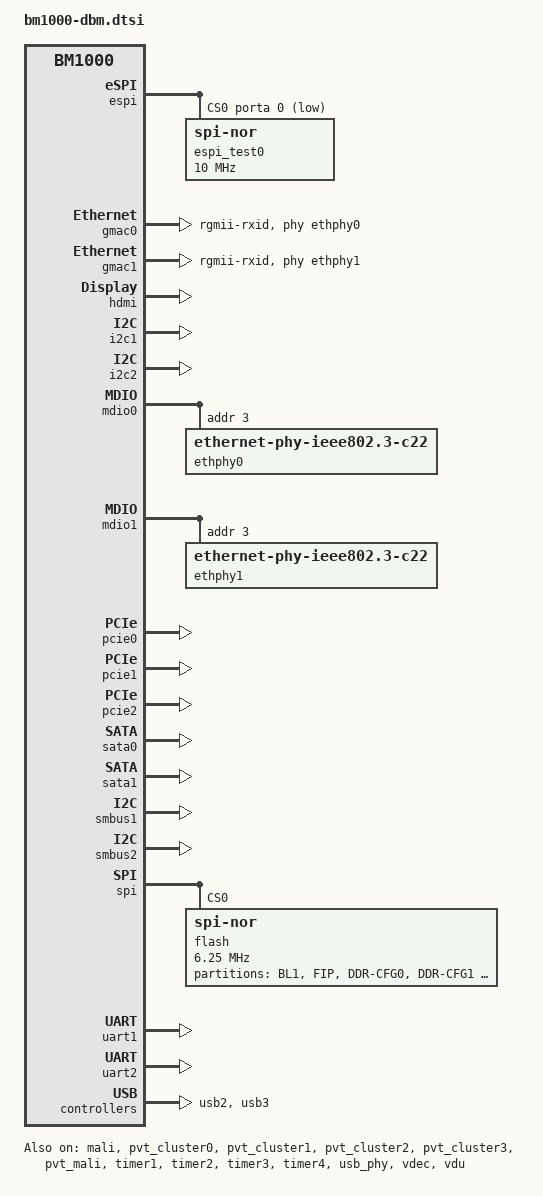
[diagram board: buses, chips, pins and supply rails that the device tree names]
// SPDX-License-Identifier: GPL-2.0
/*
 * Device tree source for Baikal Electronics DBM boards
 * Copyright (C) 2019-2025 Baikal Electronics, JSC
 */

#include "bm1000.dtsi"
#include "bm1000-dbm-mezzanine-multimedia.dtsi"
#include "bm1000-dbm-mezzanine-xgbe-krkx4.dtsi"

/ {
	aliases {
		ethernet0 = &gmac0;
		ethernet1 = &gmac1;
	};

	chosen { };
};

&dmac_lsp {
	status = "okay";
};

&dmac_m2m {
	status = "okay";
};

&espi {
	status = "okay";
	num-cs = <8>;
	cs-gpios = <&porta 0 GPIO_ACTIVE_LOW>;

	espi_test0@0 {
		compatible = "jedec,spi-nor";
		reg = <0>; /* CS #0 */
		#address-cells = <1>;
		#size-cells = <1>;
		spi-max-frequency = <10000000>;
		spi-cpha;
		spi-tx-bus-width = <1>;
		spi-rx-bus-width = <1>;
		status = "okay";
	};
};

&gmac0 {
	status = "okay";
	phy-handle = <&ethphy0>;
	phy-mode = "rgmii-rxid";
};

&gmac1 {
	status = "okay";
	phy-handle = <&ethphy1>;
	phy-mode = "rgmii-rxid";
};

&gpio32 {
	status = "okay";
};

&hdmi {
	status = "okay";
};

&i2c1 {
	status = "okay";
};

&i2c2 {
	status = "okay";
};

&mali {
	status = "okay";
};

&mdio0 {
	reset-delay-us = <10200>;
	/* Due to a 10uf capacitor on a reset line */
	reset-post-delay-us = <20000>;

	ethphy0: ethernet-phy@3 {
		compatible = "ethernet-phy-ieee802.3-c22";
		reg = <0x3>;
		txd0-skew-ps = <0>;
		txd1-skew-ps = <0>;
		txd2-skew-ps = <0>;
		txd3-skew-ps = <0>;
		txc-skew-ps = <0xff>;
	};
};

&mdio1 {
	reset-delay-us = <10200>;
	/* Due to a 10uf capacitor on a reset line */
	reset-post-delay-us = <20000>;

	ethphy1: ethernet-phy@3 {
		compatible = "ethernet-phy-ieee802.3-c22";
		reg = <0x3>;
		txd0-skew-ps = <0>;
		txd1-skew-ps = <0>;
		txd2-skew-ps = <0>;
		txd3-skew-ps = <0>;
		txc-skew-ps = <0xff>;
	};
};

&pcie0 {
	status = "okay";
	bm1000,gen3-eq-fb-mode = <0>;
	bm1000,phy-rx-ctle = <0xf4>;
	bm1000,phy-rx-dfe = <0>;
};

&pcie1 {
	status = "okay";
	bm1000,gen3-eq-fb-mode = <0>;
	bm1000,phy-rx-ctle = <0x64>;
	bm1000,phy-rx-dfe = <0>;
};

&pcie2 {
	status = "okay";
	bm1000,gen3-eq-fb-mode = <0>;
	bm1000,phy-rx-ctle = <0x34>;
	bm1000,phy-rx-dfe = <0>;
};

&pvt_cluster0 {
	status = "okay";
};

&pvt_cluster1 {
	status = "okay";
};

&pvt_cluster2 {
	status = "okay";
};

&pvt_cluster3 {
	status = "okay";
};

&pvt_mali {
	status = "okay";
};

&sata0 {
	status = "okay";
};

&sata1 {
	status = "okay";
};

&smbus1 {
	status = "okay";
};

&smbus2 {
	status = "okay";
};

&spi {
	status = "okay";

	flash@0 {
		compatible = "jedec,spi-nor";
		reg = <0>;
		spi-max-frequency = <6250000>;
		spi-tx-bus-width = <1>;
		spi-rx-bus-width = <1>;
		status = "okay";

		partitions {
			compatible = "fixed-partitions";
			#address-cells = <1>;
			#size-cells = <1>;

			partition@0 {
				label = "BL1";
				reg = <0x000000 0x10000>;
			};

			partition@40000 {
				label = "FIP";
				reg = <0x40000 0x200000>;
			};

			partition@240000 {
				label = "DDR-CFG0";
				reg = <0x240000 0x40000>;
			};

			partition@280000 {
				label = "DDR-CFG1";
				reg = <0x280000 0x40000>;
			};

			partition@2c0000 {
				label = "UEFI vars";
				reg = <0x2c0000 0xc0000>;
			};

			partition@380000 {
				label = "FAT";
				reg = <0x380000 0x1c80000>;
			};
		};
	};
};

&timer1 {
	status = "okay";
};

&timer2 {
	status = "okay";
};

&timer3 {
	status = "okay";
};

&timer4 {
	status = "okay";
};

&uart1 {
	status = "okay";
};

&uart2 {
	status = "okay";
};

&usb2 {
	status = "okay";
};

&usb3 {
	status = "okay";
};

&usb_phy {
	status = "okay";
};

&vdec {
	status = "okay";
};

&vdu {
	status = "okay";
};
